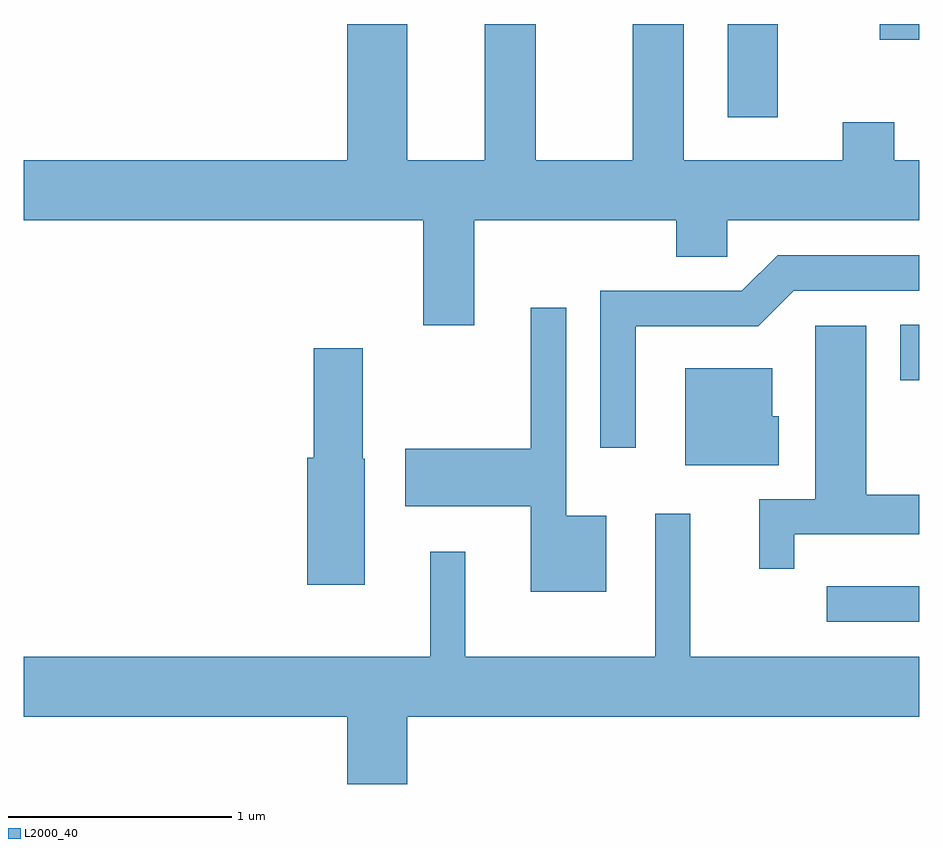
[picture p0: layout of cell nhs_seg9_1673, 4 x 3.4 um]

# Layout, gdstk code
import gdstk
lib = gdstk.Library(unit=1e-6, precision=1e-09)
def R(c, l, rs):  # rectangles x0, y0, x1, y1
    for r in rs: c.add(gdstk.rectangle(r[:2], r[2:], *l))
def P(c, l, *ps):  # polygons
    for p in ps: c.add(gdstk.Polygon(p, *l))
L2000_40 = (2000, 40)

nhs_seg9_1673 = lib.new_cell('nhs_seg9_1673')
R(nhs_seg9_1673, L2000_40, [(237.198,2027.761,237.611,2027.919), (237.526,2028.841,237.611,2029.089), (236.756,2030.016,236.979,2030.432), (237.436,2030.361,237.611,2030.432)])
P(nhs_seg9_1673, L2000_40, [(235.396,2029.086),(235.624,2029.086),(235.624,2029.556),(236.526,2029.556),(236.526,2029.391),(236.754,2029.391),(236.754,2029.556),(237.611,2029.556),(237.611,2029.824),(237.499,2029.824),(237.499,2029.994),(237.271,2029.994),(237.271,2029.824),(236.559,2029.824),(236.559,2030.432),(236.331,2030.432),(236.331,2029.824),(235.899,2029.824),(235.899,2030.432),(235.671,2030.432),(235.671,2029.824),(235.324,2029.824),(235.324,2030.432),(235.056,2030.432),(235.056,2029.824),(233.611,2029.824),(233.611,2029.556),(235.396,2029.556)],
  [(236.344,2029.081),(236.892,2029.081),(237.052,2029.241),(237.611,2029.241),(237.611,2029.399),(236.979,2029.399),(236.819,2029.239),(236.186,2029.239),(236.186,2028.538),(236.344,2028.538)],
  [(236.214,2028.234),(236.034,2028.234),(236.034,2029.163),(235.876,2029.163),(235.876,2028.534),(235.316,2028.534),(235.316,2028.276),(235.876,2028.276),(235.876,2027.896),(236.214,2027.896)],
  [(237.054,2028.151),(237.611,2028.151),(237.611,2028.329),(237.374,2028.329),(237.374,2029.084),(237.146,2029.084),(237.146,2028.309),(236.896,2028.309),(236.896,2027.998),(237.054,2027.998)],
  [(235.134,2028.49),(235.124,2028.49),(235.124,2028.984),(234.906,2028.984),(234.906,2028.494),(234.876,2028.494),(234.876,2027.926),(235.134,2027.926)],
  [(236.984,2028.679),(236.954,2028.679),(236.954,2028.894),(236.566,2028.894),(236.566,2028.461),(236.984,2028.461)],
  [(235.324,2027.336),(237.611,2027.336),(237.611,2027.604),(236.589,2027.604),(236.589,2028.243),(236.431,2028.243),(236.431,2027.604),(235.584,2027.604),(235.584,2028.073),(235.426,2028.073),(235.426,2027.604),(233.611,2027.604),(233.611,2027.336),(235.056,2027.336),(235.056,2027.036),(235.324,2027.036)])

lib.write_gds('nhs_seg9_1673.gds')
